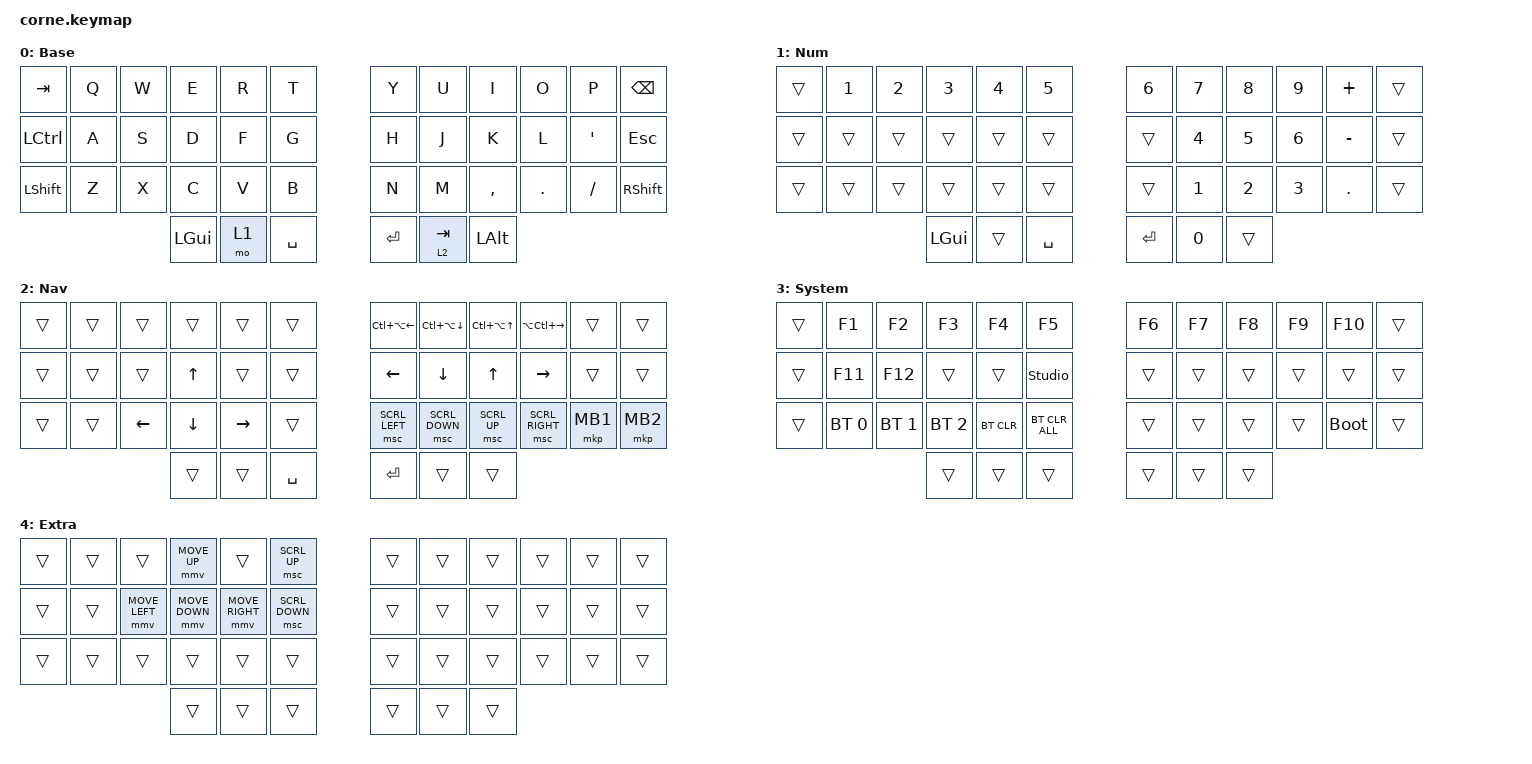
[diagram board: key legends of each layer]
#include <behaviors.dtsi>
#include <dt-bindings/zmk/bt.h>
#include <dt-bindings/zmk/keys.h>
#include <dt-bindings/zmk/pointing.h>

#define DEF 0
#define NAV 1
#define SYM 2
#define ADJ 3
#define EXTRA 4

/ {
    behaviors {
        hm: homerow_mods {
            compatible = "zmk,behavior-hold-tap";
            label = "HOMEROW_MODS";
            #binding-cells = <2>;
            tapping-term-ms = <200>;
            quick_tap_ms = <0>;
            flavor = "tap-preferred";
            bindings = <&kp>, <&kp>;

            quick-tap-ms = <180>;
            global-quick-tap;
        };

        para: para {
            compatible = "zmk,behavior-tap-dance";
            label = "PARA";
            #binding-cells = <0>;
            bindings = <&kp LEFT_PARENTHESIS>, <&kp RIGHT_PARENTHESIS>;
        };

        caps: caps {
            compatible = "zmk,behavior-caps-word";
            label = "CAPS";
            #binding-cells = <0>;
            continue-list = <MINUS BACKSPACE>;
        };

        paraless: paraless {
            compatible = "zmk,behavior-mod-morph";
            label = "PARALESS";
            bindings = <&kp LEFT_PARENTHESIS>, <&kp LESS_THAN>;

            #binding-cells = <0>;
            mods = <(MOD_LSFT)>;
        };

        paragreat: paragreat {
            compatible = "zmk,behavior-mod-morph";
            label = "PARAGREAT";
            bindings = <&kp RIGHT_PARENTHESIS>, <&kp GREATER_THAN>;

            #binding-cells = <0>;
            mods = <(MOD_LSFT)>;
        };
    };

    macros {
        browsertab: browsertab {
            compatible = "zmk,behavior-macro";
            #binding-cells = <0>;
            bindings =
                <&macro_press>,
                <&kp LCTRL>,
                <&macro_tap>,
                <&kp TAB>,
                <&macro_release>,
                <&kp LCTRL>;
        };
    };

    combos {
        compatible = "zmk,combos";

        semcol {
            bindings = <&kp SEMI>;
            key-positions = <32 33>;
            timeout-ms = <50>;
            layers = <0>;
        };

        cpslck {
            bindings = <&kp CAPSLOCK>;
            key-positions = <24 35>;
            layers = <0>;
        };

        parentheses_left {
            bindings = <&kp LEFT_PARENTHESIS>;
            key-positions = <16 15>;
            layers = <0>;
        };

        parentheses_right {
            bindings = <&kp RIGHT_PARENTHESIS>;
            key-positions = <19 20>;
            layers = <0>;
        };

        bracket_left {
            bindings = <&kp LEFT_BRACKET>;
            key-positions = <3 4>;
            layers = <0>;
        };

        bracket_right {
            bindings = <&kp RIGHT_BRACKET>;
            key-positions = <8 7>;
            layers = <0>;
        };

        colon {
            bindings = <&kp COLON>;
            key-positions = <20 21>;
            layers = <0>;
        };

        grave {
            bindings = <&kp GRAVE>;
            key-positions = <15 14>;
            layers = <0>;
        };

        brace_left {
            bindings = <&kp LEFT_BRACE>;
            key-positions = <27 28>;
            layers = <0>;
        };

        brace_right {
            bindings = <&kp RIGHT_BRACE>;
            key-positions = <31 32>;
            layers = <0>;
        };

        less_than {
            bindings = <&kp LESS_THAN>;
            key-positions = <2 3>;
            layers = <0>;
        };

        bigger_than {
            bindings = <&kp GREATER_THAN>;
            key-positions = <8 9>;
            layers = <0>;
        };

        hyphen {
            bindings = <&kp MINUS>;
            key-positions = <28 31>;
            layers = <0>;
        };

        plus {
            bindings = <&kp PLUS>;
            key-positions = <4 7>;
            layers = <0>;
        };

        equal {
            bindings = <&kp EQUAL>;
            key-positions = <16 19>;
            layers = <0>;
        };

        Pipe {
            bindings = <&kp PIPE>;
            key-positions = <27 26>;
            layers = <0>;
        };

        astrsk {
            bindings = <&kp ASTERISK>;
            key-positions = <3 8>;
            layers = <0>;
        };

        dollar {
            bindings = <&kp DOLLAR>;
            key-positions = <15 20>;
            layers = <0>;
        };

        excl {
            bindings = <&kp EXCL>;
            key-positions = <27 32>;
            layers = <0>;
        };

        ampersand {
            bindings = <&kp AMPERSAND>;
            key-positions = <17 18>;
            layers = <0>;
        };

        underscore {
            bindings = <&kp UNDERSCORE>;
            key-positions = <29 30>;
            layers = <0>;
        };

        backslash {
            bindings = <&kp BACKSLASH>;
            key-positions = <21 22>;
            layers = <0>;
        };

        tilde {
            bindings = <&kp TILDE>;
            key-positions = <14 13>;
            layers = <0>;
        };
    };

    //

    keymap {
        compatible = "zmk,keymap";

        DEF {
            display-name = "Base";

            // -----------------------------------------------------------------------------------------
            // |  Q  |  W  |  E  |  R  |  T  |   |  Y  |  U   |  I  |  O  |  P  |
            // |  A  |  S  |  D  |  F  |  G  |   |  H  |  J   |  K  |  L  |  ;  |
            // |  Z  |  X  |  C  |  V  |  B  |   |  N  |  M   |  ,  |  .  |  /  |
            // | GUI | CTRL | SHFT | LWR | SPC |   | ENT | RSE  | BKSP | ALT | ESC |

            bindings = <
&kp TAB         &kp Q  &kp W  &kp E     &kp R  &kp T        &kp Y    &kp U      &kp I         &kp O    &kp P             &kp BACKSPACE
&kp LCTRL       &kp A  &kp S  &kp D     &kp F  &kp G        &kp H    &kp J      &kp K         &kp L    &kp SINGLE_QUOTE  &kp ESC
&kp LEFT_SHIFT  &kp Z  &kp X  &kp C     &kp V  &kp B        &kp N    &kp M      &kp COMMA     &kp DOT  &kp FSLH          &kp RSHFT
                              &kp LGUI  &mo 1  &kp SPACE    &kp RET  &lt 2 TAB  &kp LEFT_ALT
            >;
        };

        Num {
            display-name = "Num";

            // -----------------------------------------------------------------------------------------
            // |  TAB |  1  |  2  |  3  |  4  |  5  |   |  6  |  7  |  8  |  9  |  0  | BKSP |
            // | BTCLR| BT1 | BT2 | BT3 | BT4 | BT5 |   | LFT | DWN |  UP | RGT |     |      |
            // | SHFT |     |     |     |     |     |   |     |     |     |     |     |      |
            // | GUI | CTRL | SHFT | LWR | SPC |   | ENT | RSE  | BKSP | ALT | ESC |

            bindings = <
&trans  &kp N1  &kp N2  &kp N3    &kp N4  &kp N5       &kp N6   &kp N7        &kp N8        &kp N9        &kp PLUS    &trans
&trans  &trans  &trans  &trans    &trans  &trans       &trans   &kp NUMBER_4  &kp N5        &kp NUMBER_6  &kp MINUS   &trans
&trans  &trans  &trans  &trans    &trans  &trans       &trans   &kp NUMBER_1  &kp NUMBER_2  &kp NUMBER_3  &kp PERIOD  &trans
                        &kp LGUI  &trans  &kp SPACE    &kp RET  &kp N0        &trans
            >;
        };

        Nav {
            display-name = "Nav";

            // -----------------------------------------------------------------------------------------
            // |  TAB |  !  |  @  |  #  |  $  |  %  |   |  ^  |  &  |  *  |  (  |  )  | BKSP |
            // | CTRL |     |     |     |     |     |   |  -  |  =  |  [  |  ]  |  \  |  `   |
            // | SHFT |     |     |     |     |     |   |  _  |  +  |  {  |  }  | "|" |  ~   |
            //                    | GUI |     | SPC |   | ENT |     | ALT |

            bindings = <
&trans  &trans  &trans          &trans          &trans           &trans       &kp LC(LA(LEFT))  &kp LC(LA(DOWN))  &kp LC(LA(UP_ARROW))  &kp LA(LC(RIGHT))  &trans    &trans
&trans  &trans  &trans          &kp UP_ARROW    &trans           &trans       &kp LEFT_ARROW    &kp DOWN          &kp UP_ARROW          &kp RIGHT          &trans    &trans
&trans  &trans  &kp LEFT_ARROW  &kp DOWN_ARROW  &kp RIGHT_ARROW  &trans       &msc SCRL_LEFT    &msc SCRL_DOWN    &msc SCRL_UP          &msc SCRL_RIGHT    &mkp MB1  &mkp MB2
                                &trans          &trans           &kp SPACE    &kp RET           &trans            &trans
            >;
        };

        ADJ {
            display-name = "System";
            bindings = <
&trans  &kp F1        &kp F2        &kp F3        &kp F4      &kp F5            &kp F6  &kp F7  &kp F8  &kp F9  &kp F10      &trans
&trans  &kp F11       &kp F12       &trans        &trans      &studio_unlock    &trans  &trans  &trans  &trans  &trans       &trans
&trans  &bt BT_SEL 0  &bt BT_SEL 1  &bt BT_SEL 2  &bt BT_CLR  &bt BT_CLR_ALL    &trans  &trans  &trans  &trans  &bootloader  &trans
                                    &trans        &trans      &trans            &trans  &trans  &trans
            >;
        };

        EXTRA {
            display-name = "Extra";
            bindings = <
&trans  &trans  &trans          &mmv MOVE_UP    &trans           &msc SCRL_UP      &trans  &trans  &trans  &trans  &trans  &trans
&trans  &trans  &mmv MOVE_LEFT  &mmv MOVE_DOWN  &mmv MOVE_RIGHT  &msc SCRL_DOWN    &trans  &trans  &trans  &trans  &trans  &trans
&trans  &trans  &trans          &trans          &trans           &trans            &trans  &trans  &trans  &trans  &trans  &trans
                                &trans          &trans           &trans            &trans  &trans  &trans
            >;
        };
    };

    conditional_layers {
        compatible = "zmk,conditional-layers";

        l3 {
            if-layers = <1 2>;
            then-layer = <3>;
        };
    };
};
